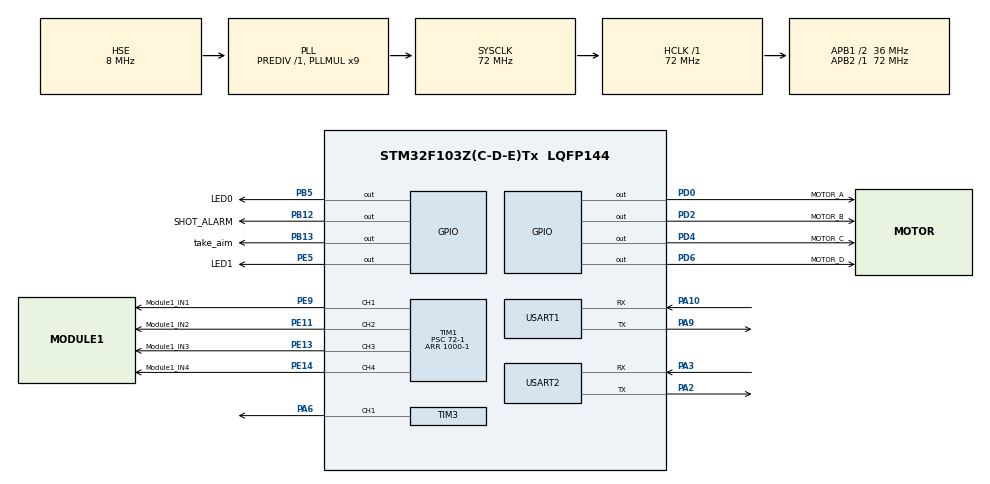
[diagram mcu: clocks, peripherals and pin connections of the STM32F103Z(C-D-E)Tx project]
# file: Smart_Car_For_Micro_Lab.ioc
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Mcu.Family=STM32F1
Mcu.Name=STM32F103Z(C-D-E)Tx
Mcu.Package=LQFP144
NVIC.PriorityGroup=NVIC_PRIORITYGROUP_4
NVIC.USART2_IRQn=true\:0\:0\:false\:false\:true\:true\:true
OSC_IN.Mode=HSE-External-Oscillator
OSC_IN.Signal=RCC_OSC_IN
OSC_OUT.Mode=HSE-External-Oscillator
OSC_OUT.Signal=RCC_OSC_OUT
PA10.Mode=Asynchronous
PA10.Signal=USART1_RX
PA13.Mode=Serial_Wire
PA13.Signal=SYS_JTMS-SWDIO
PA14.Mode=Serial_Wire
PA14.Signal=SYS_JTCK-SWCLK
PA2.Mode=Asynchronous
PA2.Signal=USART2_TX
PA3.Mode=Asynchronous
PA3.Signal=USART2_RX
PA6.Signal=S_TIM3_CH1
PA9.Mode=Asynchronous
PA9.Signal=USART1_TX
PB12.GPIO_Label=SHOT_ALARM
PB12.GPIO_Speed=GPIO_SPEED_FREQ_HIGH
PB12.Signal=GPIO_Output
PB13.GPIO_Label=take_aim
PB13.GPIO_Speed=GPIO_SPEED_FREQ_HIGH
PB13.Signal=GPIO_Output
PB5.GPIO_Label=LED0
PB5.GPIO_Speed=GPIO_SPEED_FREQ_HIGH
PB5.PinState=GPIO_PIN_SET
PB5.Signal=GPIO_Output
PD0.GPIO_Label=MOTOR_A
PD0.GPIO_Speed=GPIO_SPEED_FREQ_HIGH
PD0.Signal=GPIO_Output
PD2.GPIO_Label=MOTOR_B
PD2.GPIO_Speed=GPIO_SPEED_FREQ_HIGH
PD2.Signal=GPIO_Output
PD4.GPIO_Label=MOTOR_C
PD4.GPIO_Speed=GPIO_SPEED_FREQ_HIGH
PD4.Signal=GPIO_Output
PD6.GPIO_Label=MOTOR_D
PD6.GPIO_Speed=GPIO_SPEED_FREQ_HIGH
PD6.Signal=GPIO_Output
PE11.GPIO_Label=Module1_IN2
PE11.GPIO_Speed=GPIO_SPEED_FREQ_HIGH
PE11.Signal=S_TIM1_CH2
PE13.GPIO_Label=Module1_IN3
PE13.GPIO_Speed=GPIO_SPEED_FREQ_HIGH
PE13.Signal=S_TIM1_CH3
PE14.GPIO_Label=Module1_IN4
PE14.GPIO_Speed=GPIO_SPEED_FREQ_HIGH
PE14.Signal=S_TIM1_CH4
PE5.GPIO_Label=LED1
PE5.GPIO_Speed=GPIO_SPEED_FREQ_HIGH
PE5.PinState=GPIO_PIN_SET
PE5.Signal=GPIO_Output
PE9.GPIO_Label=Module1_IN1
PE9.GPIO_Speed=GPIO_SPEED_FREQ_HIGH
PE9.Signal=S_TIM1_CH1
ProjectManager.HeapSize=0x200
ProjectManager.StackSize=0x400
ProjectManager.TargetToolchain=MDK-ARM V5
RCC.AHBFreq_Value=72000000
RCC.APB1CLKDivider=RCC_HCLK_DIV2
RCC.APB1Freq_Value=36000000
RCC.APB1TimFreq_Value=72000000
RCC.APB2Freq_Value=72000000
RCC.APB2TimFreq_Value=72000000
RCC.HCLKFreq_Value=72000000
RCC.PLLMUL=RCC_PLL_MUL9
RCC.PLLSourceVirtual=RCC_PLLSOURCE_HSE
RCC.SYSCLKFreq_VALUE=72000000
RCC.SYSCLKSource=RCC_SYSCLKSOURCE_PLLCLK
RCC.USBFreq_Value=72000000
SH.S_TIM1_CH1.0=TIM1_CH1,PWM Generation1 CH1
SH.S_TIM1_CH2.0=TIM1_CH2,PWM Generation2 CH2
SH.S_TIM1_CH3.0=TIM1_CH3,PWM Generation3 CH3
SH.S_TIM1_CH4.0=TIM1_CH4,PWM Generation4 CH4
SH.S_TIM3_CH1.0=TIM3_CH1,PWM Generation1 CH1
TIM1.Channel-PWM\ Generation1\ CH1=TIM_CHANNEL_1
TIM1.Channel-PWM\ Generation2\ CH2=TIM_CHANNEL_2
TIM1.Channel-PWM\ Generation3\ CH3=TIM_CHANNEL_3
TIM1.Channel-PWM\ Generation4\ CH4=TIM_CHANNEL_4
TIM1.Period=1000-1
TIM1.Prescaler=72-1
TIM3.Channel-PWM\ Generation1\ CH1=TIM_CHANNEL_1
TIM3.Period=1999
TIM3.Prescaler=719
TIM3.Pulse-PWM\ Generation1\ CH1=150
USART1.VirtualMode=VM_ASYNC
USART2.VirtualMode=VM_ASYNC
board=custom

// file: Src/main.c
/* USER CODE BEGIN Header */
/**
  ******************************************************************************
  * @file           : main.c
  * @brief          : Main program body
  ******************************************************************************
  * @attention
  *
  * <h2><center>&copy; Copyright (c) 2020 STMicroelectronics.
  * All rights reserved.</center></h2>
  *
  * This software component is licensed by ST under BSD 3-Clause license,
  * the "License"; You may not use this file except in compliance with the
  * License. You may obtain a copy of the License at:
  *                        opensource.org/licenses/BSD-3-Clause
  *
  ******************************************************************************
  */
/* USER CODE END Header */

#include "main.h"
#include "tim.h"
#include "usart.h"
#include "gpio.h"

/* USER CODE BEGIN Includes */
#include "bsp_esp8266.h"
#include "canvas.h"
#include "motor.h"
/* USER CODE END Includes */

/* USER CODE BEGIN PD */
#define User_ESP8266_ApSsid                       "602"              //要连接的热点的名称
#define User_ESP8266_ApPwd                        "13602584536"           //要连接的热点的密钥
#define User_ESP8266_TcpServer_IP                 "192.168.2.102"       //要连接的服务器的 IP
#define User_ESP8266_TcpServer_Port               "8080"                 //要连接的服务器的端口
/* USER CODE END PD */

/* USER CODE BEGIN PM */
extern CanvasEventList events;
extern void processBytes(char * bytes, unsigned short len);
/* USER CODE END PM */

void SystemClock_Config(void);
/* USER CODE BEGIN PFP */
void Car_Event_Handler(void);
void ESP8266_Data_Handler(void);
/* USER CODE END PFP */

int main(void)
{

    /* MCU Configuration--------------------------------------------------------*/

    /* Reset of all peripherals, Initializes the Flash interface and the Systick. */
    HAL_Init();

    /* Configure the system clock */
    SystemClock_Config();

    /* Initialize all configured peripherals */
    MX_GPIO_Init();
    MX_TIM1_Init();
    MX_USART1_UART_Init();
    MX_USART2_UART_Init();
    MX_TIM3_Init();
    /* USER CODE BEGIN 2 */
    HAL_TIM_PWM_Start(&htim3, TIM_CHANNEL_1);
    //setServoAngle(6);
    ESP8266_Init();
    //初始化画布
    initCanvas(events);
    printf("正在配置 ESP8266 ......\n" );
    ESP8266_Rst();

    while(!ESP8266_AT_Test());

    while(!ESP8266_Net_Mode_Choose(STA_AP));

    while(!ESP8266_JoinAP(User_ESP8266_ApSsid, User_ESP8266_ApPwd));

    while(!ESP8266_Enable_MultipleId(DISABLE));

    while(!ESP8266_Link_Server(enumTCP, User_ESP8266_TcpServer_IP, User_ESP8266_TcpServer_Port, Single_ID_0));

    while(!ESP8266_UnvarnishSend());

    //使能空闲中断
    __HAL_UART_ENABLE_IT(&huart2, UART_IT_IDLE);
    printf("配置 ESP8266 完毕\n");
    //配置完毕，打开指示灯，代表此时已经连接服务器成功
    HAL_GPIO_WritePin(LED1_GPIO_Port, LED1_Pin, GPIO_PIN_RESET);
    /* USER CODE END 2 */

    /* Infinite loop */
    while (1)
    {

        /* USER CODE BEGIN 3 */
        ESP8266_Data_Handler();
    }

    /* USER CODE END 3 */
}

void SystemClock_Config(void)
{
    RCC_OscInitTypeDef RCC_OscInitStruct = {0};
    RCC_ClkInitTypeDef RCC_ClkInitStruct = {0};

    /** Initializes the CPU, AHB and APB busses clocks
    */
    RCC_OscInitStruct.OscillatorType = RCC_OSCILLATORTYPE_HSE;
    RCC_OscInitStruct.HSEState = RCC_HSE_ON;
    RCC_OscInitStruct.HSEPredivValue = RCC_HSE_PREDIV_DIV1;
    RCC_OscInitStruct.HSIState = RCC_HSI_ON;
    RCC_OscInitStruct.PLL.PLLState = RCC_PLL_ON;
    RCC_OscInitStruct.PLL.PLLSource = RCC_PLLSOURCE_HSE;
    RCC_OscInitStruct.PLL.PLLMUL = RCC_PLL_MUL9;

    if (HAL_RCC_OscConfig(&RCC_OscInitStruct) != HAL_OK)
    {
        Error_Handler();
    }

    /** Initializes the CPU, AHB and APB busses clocks
    */
    RCC_ClkInitStruct.ClockType = RCC_CLOCKTYPE_HCLK | RCC_CLOCKTYPE_SYSCLK
                                  | RCC_CLOCKTYPE_PCLK1 | RCC_CLOCKTYPE_PCLK2;
    RCC_ClkInitStruct.SYSCLKSource = RCC_SYSCLKSOURCE_PLLCLK;
    RCC_ClkInitStruct.AHBCLKDivider = RCC_SYSCLK_DIV1;
    RCC_ClkInitStruct.APB1CLKDivider = RCC_HCLK_DIV2;
    RCC_ClkInitStruct.APB2CLKDivider = RCC_HCLK_DIV1;

    if (HAL_RCC_ClockConfig(&RCC_ClkInitStruct, FLASH_LATENCY_2) != HAL_OK)
    {
        Error_Handler();
    }
}

/* USER CODE BEGIN 4 */
//ESP8266接收数据处理
void ESP8266_Data_Handler(void)
{
    ESP8266_ReceiveString(ENABLE);

    if ( strEsp8266_Fram_Record .InfBit .FramFinishFlag )
    {
        //接收到数据闪烁灯
        HAL_GPIO_TogglePin(LED0_GPIO_Port, LED0_Pin);
        strEsp8266_Fram_Record .Data_RX_BUF [ strEsp8266_Fram_Record .InfBit .FramLength ] = '\0';

        for(int i = 0 ; i < strEsp8266_Fram_Record .InfBit .FramLength ; i++)
            printf("%x ", strEsp8266_Fram_Record .Data_RX_BUF[i]);

        printf("\r\n");
        //处理Canvas发来的数据
        processBytes(strEsp8266_Fram_Record .Data_RX_BUF, strEsp8266_Fram_Record .InfBit .FramLength);
        //执行事件处理
        Car_Event_Handler();
        //清楚串口缓存区
        memset(strEsp8266_Fram_Record.Data_RX_BUF, 0, strlen(strEsp8266_Fram_Record.Data_RX_BUF));
    }
}

//小车事件处理
void Car_Event_Handler(void)
{
    ///遍历事件
    for(int i = 0; i < CANVASEVENTLIST_SIZE; ++i)
    {
        //如果当前SDK包含对应的控件事件，则处理
        if(events[i].componenttype != NONE_COMPONENT)
        {
            //当前componenttype为按钮
            if(PUSHBUTTON == events[i].componenttype)
            {
                //小车前进
                if(events[i].componentnumer == 0)
                {
                    if(PUSHBUTTON_PRESS == events[i].componentmsgtype)
                        car_go();
                    else if(PUSHBUTTON_RELEASE == events[i].componentmsgtype)
                        car_stop();
                }

                //小车后退
                if(events[i].componentnumer == 1)
                {
                    if(PUSHBUTTON_PRESS == events[i].componentmsgtype)
                        car_back();
                    else if(PUSHBUTTON_RELEASE == events[i].componentmsgtype)
                        car_stop();
                }

                //小车左转
                if(events[i].componentnumer == 2)
                {
                    if(PUSHBUTTON_PRESS == events[i].componentmsgtype)
                        car_left();
                    else if(PUSHBUTTON_RELEASE == events[i].componentmsgtype)
                        car_stop();
                }

                //小车右转
                if(events[i].componentnumer == 3)
                {
                    if(PUSHBUTTON_PRESS == events[i].componentmsgtype)
                        car_right();
                    else if(PUSHBUTTON_RELEASE == events[i].componentmsgtype)
                        car_stop();
                }

                //小车瞄准
                if(events[i].componentnumer == 4)
                {
                    if(PUSHBUTTON_PRESS == events[i].componentmsgtype)
                        car_aim();
                    else if(PUSHBUTTON_RELEASE == events[i].componentmsgtype)
                        car_stop();
                }

                //小车发射
                if(events[i].componentnumer == 5)
                {
                    if(PUSHBUTTON_PRESS == events[i].componentmsgtype)
                        car_shot();
                    else if(PUSHBUTTON_RELEASE == events[i].componentmsgtype)
                        car_stop();
                }
            }

            //清除事件
            events[i].componenttype = NONE_COMPONENT;
            events[i].componentnumer = 0;
            events[i].componentmsgtype = NONE_MSG;
            events[i].msglen = 0;
        }
    }

}
/* USER CODE END 4 */

void Error_Handler(void)
{
}

/************************ (C) COPYRIGHT STMicroelectronics *****END OF FILE****/
